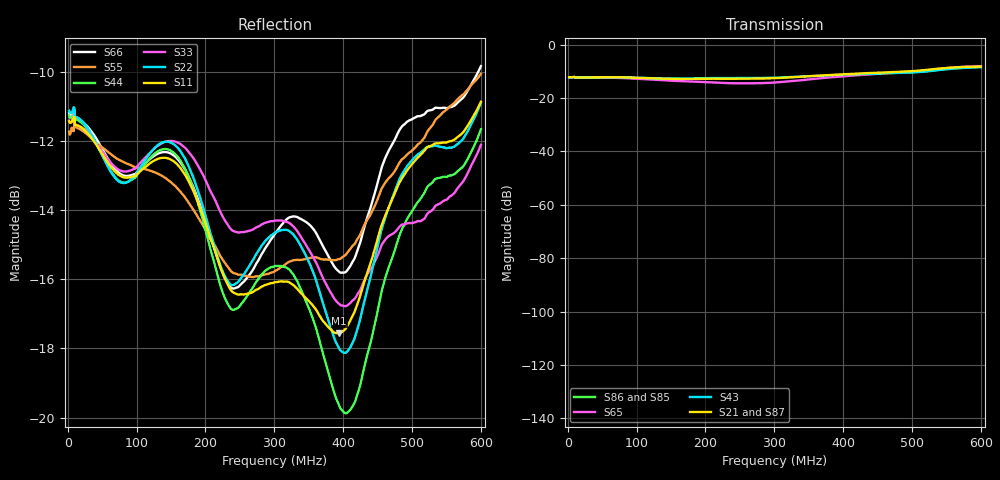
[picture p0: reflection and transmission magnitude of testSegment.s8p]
!Keysight Technologies,M9370A,MY54322275,A.12.60.03
!Date: Wednesday, May 01, 2019 15:33:06
!Correction: S11(Off)
!S12(Off)
!S13(Off)
!S14(Off)
!S15(Off)
!S16(Off)
!S17(Off)
!S18(Off)
!S21(Off)
!S22(Off)
!S23(Off)
!S24(Off)
!S25(Off)
!S26(Off)
!S27(Off)
!S28(Off)
!S31(Off)
!S32(Off)
!S33(Off)
!S34(Off)
!S35(Off)
!S36(Off)
!S37(Off)
!S38(Off)
!S41(Off)
!S42(Off)
!S43(Off)
!S44(Off)
!S45(Off)
!S46(Off)
!S47(Off)
!S48(Off)
!S51(Off)
!S52(Off)
!S53(Off)
!S54(Off)
!S55(Off)
!S56(Off)
!S57(Off)
!S58(Off)
!S61(Off)
!S62(Off)
!S63(Off)
!S64(Off)
!S65(Off)
!S66(Off)
!S67(Off)
!S68(Off)
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# Hz S  RI  R 50
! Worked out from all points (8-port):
!   1000 points, 2 MHz to 600 MHz, reference 50 ohm
!   strongest paths, dB at 2 MHz, 151.6 MHz, 301.3 MHz, 450.9 MHz, 600 MHz:
!     S21: -12.2, -12.8, -12.6, -10.5, -8.2
!     S43: -12.3, -12.7, -12.4, -10.8, -8.4
!     S87: -12.3, -12.8, -12.5, -10.7, -8.4
!     S65: -12.2, -13.5, -14.2, -10.9, -8.1
!     S86: -, -, -, -, -
!     S85: -, -, -, -, -
!   lowest |S11| = -17.6 dB at 394.1 MHz (marker M1), VSWR 1.31, Z = 38.6 - j2.69 ohm
!   |S11| at or under -10 dB: start of sweep to end of sweep
